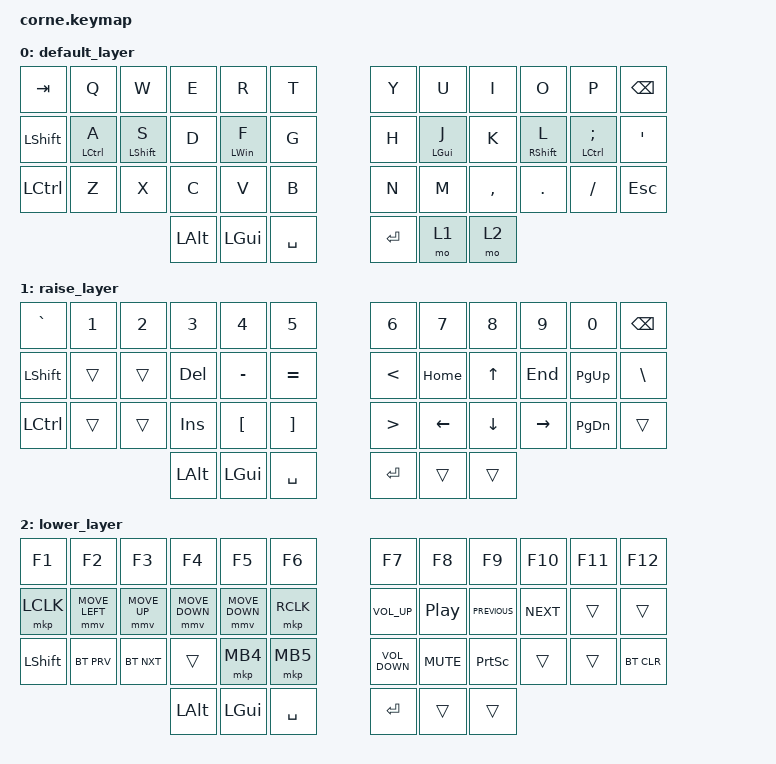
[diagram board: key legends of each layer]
/*
 * Copyright (c) 2020 The ZMK Contributors
 *
 * SPDX-License-Identifier: MIT
 */

#include <behaviors.dtsi>
#include <dt-bindings/zmk/bt.h>
#include <dt-bindings/zmk/keys.h>
#include <dt-bindings/zmk/pointing.h>

/ {
    combos {
        compatible = "zmk,combos";

        L_ESC {
            bindings = <&kp ESC>;
            key-positions = <0 1>;
        };
    };

    behaviors {
        TAB_ESC: TAB_ESC {
            compatible = "zmk,behavior-tap-dance";
            label = "TAB_ESC";
            #binding-cells = <0>;
            bindings = <&kp TAB>, <&kp ESC>;

            tapping-term-ms = <280>;
        };

        HRM_L: HRM_L {
            compatible = "zmk,behavior-hold-tap";
            label = "HRM_L";
            bindings = <&kp>, <&kp>;

            #binding-cells = <2>;
            tapping-term-ms = <280>;
            quick-tap-ms = <175>;
            flavor = "balanced";
            hold-trigger-key-positions = <6 6 7 8 9 10 11 18 19 20 21 22 23 30 31 32 33 34 35 39 40 41 36 37 38 0 5 16 0 1 2 3 4 5 12 13 14 15 16 17 24 25 26 27 28 29 38>;
            require-prior-idle-ms = <150>;
        };

        HRM_R: HRM_R {
            compatible = "zmk,behavior-hold-tap";
            label = "HRM_R";
            bindings = <&kp>, <&kp>;

            #binding-cells = <2>;
            tapping-term-ms = <280>;
            quick-tap-ms = <175>;
            flavor = "balanced";
            hold-trigger-key-positions = <38 0 1 2 3 4 5 12 13 14 15 16 17 24 25 26 27 28 29 36 37 38 39 40 41 6 7 8 9 10 11 18 19 20 21 22 23 30 31 32 33 34 35 39 40 41>;
            require-prior-idle-ms = <150>;
        };
    };

    keymap {
        compatible = "zmk,keymap";

        default_layer {
            // -----------------------------------------------------------------------------------------
            // |  TAB |  Q  |  W  |  E  |  R  |  T  |   |  Y  |  U   |  I  |  O  |  P  | BKSP |
            // | CTRL |  A  |  S  |  D  |  F  |  G  |   |  H  |  J   |  K  |  L  |  ;  |  '   |
            // | SHFT |  Z  |  X  |  C  |  V  |  B  |   |  N  |  M   |  ,  |  .  |  /  | ESC  |
            //                    | GUI | LWR | SPC |   | ENT | RSE  | ALT |

            bindings = <
&kp TAB           &kp Q           &kp W           &kp E         &kp R              &kp T        &kp Y    &kp U              &kp I      &kp O           &kp P              &kp BSPC
&kp LEFT_SHIFT    &HRM_L LCTRL A  &HRM_L LSHFT S  &kp D         &HRM_L LEFT_WIN F  &kp G        &kp H    &HRM_R LEFT_GUI J  &kp K      &HRM_R RSHFT L  &HRM_R LCTRL SEMI  &kp SQT
&kp LEFT_CONTROL  &kp Z           &kp X           &kp C         &kp V              &kp B        &kp N    &kp M              &kp COMMA  &kp DOT         &kp FSLH           &kp ESCAPE
                                                  &kp LEFT_ALT  &kp LGUI           &kp SPACE    &kp RET  &mo 1              &mo 2
            >;
        };

        raise_layer {
            // -----------------------------------------------------------------------------------------
            // |  TAB |  !  |  @  |  #  |  $  |  %  |   |  ^  |  &  |  *  |  (  |  )  | BKSP |
            // | CTRL |     |     |     |     |     |   |  -  |  =  |  [  |  ]  |  \  |  `   |
            // | SHFT |     |     |     |     |     |   |  _  |  +  |  {  |  }  | "|" |  ~   |
            //                    | GUI |     | SPC |   | ENT |     | ALT |

            bindings = <
&kp GRAVE       &kp NUMBER_1  &kp NUMBER_2  &kp NUMBER_3  &kp NUMBER_4      &kp NUMBER_5    &kp NUMBER_6      &kp NUMBER_7    &kp NUMBER_8    &kp N9     &kp N0         &kp BACKSPACE
&kp LEFT_SHIFT  &trans        &trans        &kp DEL       &kp MINUS         &kp EQUAL       &kp LESS_THAN     &kp HOME        &kp UP_ARROW    &kp END    &kp PAGE_UP    &kp BACKSLASH
&kp LCTRL       &trans        &trans        &kp INS       &kp LEFT_BRACKET  &kp RBKT        &kp GREATER_THAN  &kp LEFT_ARROW  &kp DOWN_ARROW  &kp RIGHT  &kp PAGE_DOWN  &trans
                                            &kp LEFT_ALT  &kp LGUI          &kp SPACE       &kp RET           &trans          &trans
            >;
        };

        lower_layer {
            // -----------------------------------------------------------------------------------------
            // |  TAB |  1  |  2  |  3  |  4  |  5  |   |  6  |  7  |  8  |  9  |  0  | BKSP |
            // | BTCLR| BT1 | BT2 | BT3 | BT4 | BT5 |   | LFT | DWN |  UP | RGT |     |      |
            // | SHFT |     |     |     |     |     |   |     |     |     |     |     |      |
            //                    | GUI |     | SPC |   | ENT |     | ALT |

            bindings = <
&kp F1     &kp F2          &kp F3        &kp F4          &kp F5          &kp F6       &kp F7             &kp F8            &kp F9           &kp F10     &kp F11  &kp F12
&mkp LCLK  &mmv MOVE_LEFT  &mmv MOVE_UP  &mmv MOVE_DOWN  &mmv MOVE_DOWN  &mkp RCLK    &kp C_VOLUME_UP    &kp C_PLAY_PAUSE  &kp C_PREVIOUS   &kp K_NEXT  &trans   &trans
&kp LSHFT  &bt BT_PRV      &bt BT_NXT    &trans          &mkp MB4        &mkp MB5     &kp C_VOLUME_DOWN  &kp C_MUTE        &kp PRINTSCREEN  &trans      &trans   &bt BT_CLR
                                         &kp LALT        &kp LGUI        &kp SPACE    &kp RET            &trans            &trans
            >;
        };
    };
};
